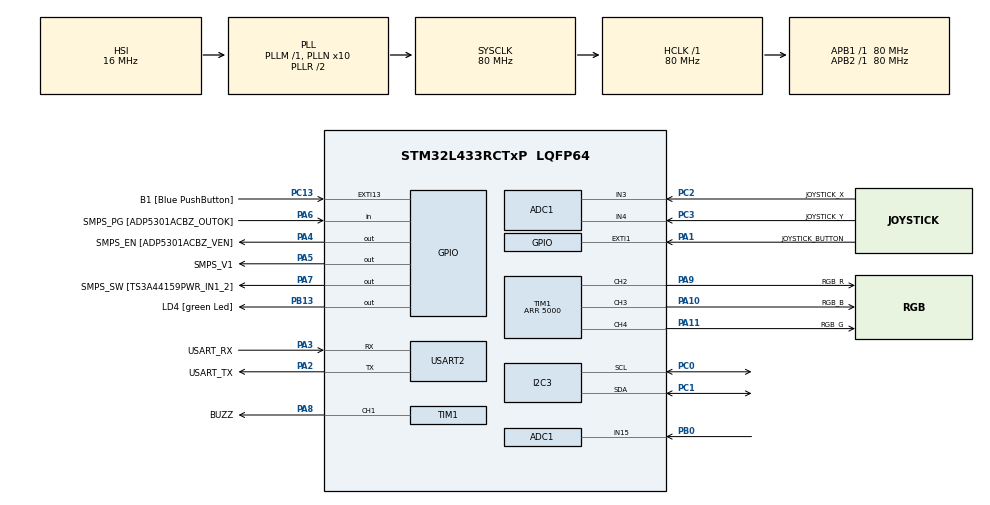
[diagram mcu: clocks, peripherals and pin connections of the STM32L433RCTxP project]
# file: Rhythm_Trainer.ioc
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ADC1.Channel-3\#ChannelRegularConversion=ADC_CHANNEL_3
ADC1.Channel-4\#ChannelRegularConversion=ADC_CHANNEL_4
ADC1.Channel-5\#ChannelRegularConversion=ADC_CHANNEL_15
ADC1.ClockPrescaler=ADC_CLOCK_ASYNC_DIV4
ADC1.ContinuousConvMode=ENABLE
ADC1.DMAContinuousRequests=ENABLE
ADC1.NbrOfConversion=3
ADC1.NbrOfConversionFlag=1
ADC1.OffsetNumber-3\#ChannelRegularConversion=ADC_OFFSET_NONE
ADC1.OffsetNumber-4\#ChannelRegularConversion=ADC_OFFSET_NONE
ADC1.OffsetNumber-5\#ChannelRegularConversion=ADC_OFFSET_NONE
ADC1.Rank-3\#ChannelRegularConversion=1
ADC1.Rank-4\#ChannelRegularConversion=2
ADC1.Rank-5\#ChannelRegularConversion=3
ADC1.SamplingTime-3\#ChannelRegularConversion=ADC_SAMPLETIME_640CYCLES_5
ADC1.SamplingTime-4\#ChannelRegularConversion=ADC_SAMPLETIME_640CYCLES_5
ADC1.SamplingTime-5\#ChannelRegularConversion=ADC_SAMPLETIME_2CYCLES_5
ADC1.master=1
Dma.ADC1.0.Direction=DMA_PERIPH_TO_MEMORY
Dma.ADC1.0.Instance=DMA1_Channel1
Dma.ADC1.0.MemDataAlignment=DMA_MDATAALIGN_HALFWORD
Dma.ADC1.0.MemInc=DMA_MINC_ENABLE
Dma.ADC1.0.Mode=DMA_CIRCULAR
Dma.ADC1.0.PeriphDataAlignment=DMA_PDATAALIGN_HALFWORD
Dma.ADC1.0.PeriphInc=DMA_PINC_DISABLE
Dma.ADC1.0.Priority=DMA_PRIORITY_MEDIUM
Dma.Request0=ADC1
I2C3.Timing=0x10D19CE4
Mcu.Family=STM32L4
Mcu.Name=STM32L433RCTxP
Mcu.Package=LQFP64
NVIC.ADC1_IRQn=true\:0\:0\:false\:false\:true\:true\:true\:true
NVIC.DMA1_Channel1_IRQn=true\:0\:0\:false\:false\:true\:false\:true\:true
NVIC.EXTI15_10_IRQn=true\:0\:0\:false\:false\:true\:true\:true\:true
NVIC.EXTI1_IRQn=true\:0\:0\:false\:false\:true\:true\:true\:true
NVIC.PriorityGroup=NVIC_PRIORITYGROUP_4
PA1.GPIO_Label=JOYSTICK_BUTTON
PA1.GPIO_ModeDefaultEXTI=GPIO_MODE_IT_FALLING
PA1.GPIO_PuPd=GPIO_PULLUP
PA1.Signal=GPXTI1
PA10.GPIO_Label=RGB_B
PA10.Signal=S_TIM1_CH3
PA11.GPIO_Label=RGB_G
PA11.Signal=S_TIM1_CH4
PA13\ (JTMS-SWDIO).GPIO_Label=TMS
PA13\ (JTMS-SWDIO).Mode=Serial_Wire
PA13\ (JTMS-SWDIO).Signal=SYS_JTMS-SWDIO
PA14\ (JTCK-SWCLK).GPIO_Label=TCK
PA14\ (JTCK-SWCLK).Mode=Serial_Wire
PA14\ (JTCK-SWCLK).Signal=SYS_JTCK-SWCLK
PA2.GPIO_Label=USART_TX
PA2.GPIO_Mode=GPIO_MODE_AF_PP
PA2.GPIO_PuPd=GPIO_NOPULL
PA2.GPIO_Speed=GPIO_SPEED_FREQ_VERY_HIGH
PA2.Mode=Asynchronous
PA2.Signal=USART2_TX
PA3.GPIO_Label=USART_RX
PA3.GPIO_Mode=GPIO_MODE_AF_PP
PA3.GPIO_PuPd=GPIO_NOPULL
PA3.GPIO_Speed=GPIO_SPEED_FREQ_VERY_HIGH
PA3.Mode=Asynchronous
PA3.Signal=USART2_RX
PA4.GPIO_Label=SMPS_EN [ADP5301ACBZ_VEN]
PA4.Signal=GPIO_Output
PA5.GPIO_Label=SMPS_V1
PA5.GPIO_ModeDefaultOutputPP=GPIO_MODE_OUTPUT_PP
PA5.GPIO_PuPd=GPIO_NOPULL
PA5.GPIO_Speed=GPIO_SPEED_FREQ_LOW
PA5.Signal=GPIO_Output
PA6.GPIO_Label=SMPS_PG [ADP5301ACBZ_OUTOK]
PA6.GPIO_PuPd=GPIO_PULLUP
PA6.Signal=GPIO_Input
PA7.GPIO_Label=SMPS_SW [TS3A44159PWR_IN1_2]
PA7.Signal=GPIO_Output
PA8.GPIO_Label=BUZZ
PA8.Signal=S_TIM1_CH1
PA9.GPIO_Label=RGB_R
PA9.Signal=S_TIM1_CH2
PB0.Signal=ADCx_IN15
PB13.GPIO_Label=LD4 [green Led]
PB13.Signal=GPIO_Output
PB3\ (JTDO-TRACESWO).GPIO_Label=SWO
PB3\ (JTDO-TRACESWO).Signal=SYS_JTDO-SWO
PC0.Mode=I2C
PC0.Signal=I2C3_SCL
PC1.Mode=I2C
PC1.Signal=I2C3_SDA
PC13.GPIO_Label=B1 [Blue PushButton]
PC13.GPIO_ModeDefaultEXTI=GPIO_MODE_IT_FALLING
PC13.GPIO_PuPd=GPIO_NOPULL
PC13.Signal=GPXTI13
PC14-OSC32_IN\ (PC14).Mode=LSE-External-Oscillator
PC14-OSC32_IN\ (PC14).Signal=RCC_OSC32_IN
PC15-OSC32_OUT\ (PC15).Mode=LSE-External-Oscillator
PC15-OSC32_OUT\ (PC15).Signal=RCC_OSC32_OUT
PC2.GPIO_Label=JOYSTICK_X
PC2.Signal=ADCx_IN3
PC3.GPIO_Label=JOYSTICK_Y
PC3.Signal=ADCx_IN4
PH0-OSC_IN\ (PH0).GPIO_Label=MCO
PH0-OSC_IN\ (PH0).Mode=HSE-External-Clock-Source
PH0-OSC_IN\ (PH0).Signal=RCC_OSC_IN
PH1-OSC_OUT\ (PH1).Signal=RCC_OSC_OUT
ProjectManager.HeapSize=0x200
ProjectManager.StackSize=0x400
ProjectManager.TargetToolchain=STM32CubeIDE
RCC.ADCFreq_Value=64000000
RCC.AHBFreq_Value=80000000
RCC.APB1Freq_Value=80000000
RCC.APB1TimFreq_Value=80000000
RCC.APB2Freq_Value=80000000
RCC.APB2TimFreq_Value=80000000
RCC.CortexFreq_Value=80000000
RCC.HCLKFreq_Value=80000000
RCC.HSE_VALUE=8000000
RCC.HSI48_VALUE=48000000
RCC.HSI_VALUE=16000000
RCC.MSI_VALUE=4000000
RCC.PLLN=10
RCC.PLLSourceVirtual=RCC_PLLSOURCE_HSI
RCC.PREFETCH_ENABLE=1
RCC.SYSCLKFreq_VALUE=80000000
RCC.SYSCLKSource=RCC_SYSCLKSOURCE_PLLCLK
RCC.USBFreq_Value=64000000
RCC.VCOOutputFreq_Value=160000000
SH.ADCx_IN15.0=ADC1_IN15,IN15-Single-Ended
SH.ADCx_IN3.0=ADC1_IN3,IN3-Single-Ended
SH.ADCx_IN4.0=ADC1_IN4,IN4-Single-Ended
SH.S_TIM1_CH1.0=TIM1_CH1,PWM Generation1 CH1
SH.S_TIM1_CH2.0=TIM1_CH2,PWM Generation2 CH2
SH.S_TIM1_CH3.0=TIM1_CH3,PWM Generation3 CH3
SH.S_TIM1_CH4.0=TIM1_CH4,PWM Generation4 CH4
TIM1.Channel-PWM\ Generation1\ CH1=TIM_CHANNEL_1
TIM1.Channel-PWM\ Generation2\ CH2=TIM_CHANNEL_2
TIM1.Channel-PWM\ Generation3\ CH3=TIM_CHANNEL_3
TIM1.Channel-PWM\ Generation4\ CH4=TIM_CHANNEL_4
TIM1.Period=5000
USART2.VirtualMode-Asynchronous=VM_ASYNC
VP_TIM1_VS_ClockSourceINT.Mode=Internal
VP_TIM2_VS_ClockSourceINT.Mode=Internal
board=NUCLEO-L433RC-P

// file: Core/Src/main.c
/* USER CODE BEGIN Header */
/**
  ******************************************************************************
  * @file           : main.c
  * @brief          : Main program body
  ******************************************************************************
  * @attention
  *
  * Copyright (c) 2025 STMicroelectronics.
  * All rights reserved.
  *
  * This software is licensed under terms that can be found in the LICENSE file
  * in the root directory of this software component.
  * If no LICENSE file comes with this software, it is provided AS-IS.
  *
  ******************************************************************************
  */
/* USER CODE END Header */
#include "main.h"

/* USER CODE BEGIN Includes */
#include <stdio.h>
#include "system_state.h"
/* USER CODE END Includes */

ADC_HandleTypeDef hadc1;
DMA_HandleTypeDef hdma_adc1;

I2C_HandleTypeDef hi2c3;

TIM_HandleTypeDef htim1;
TIM_HandleTypeDef htim2;

UART_HandleTypeDef huart2;

/* USER CODE BEGIN PV */
MenuType menu_home;
MenuType menu_bpm_detect;
MenuType menu_bpm_practice;
MenuType menu_bpm_play;
MenuType menu_select_bpm;
MenuType menu_select_sig;

SystemState hsystem_state = {
		NULL,
		NULL,

		(uint8_t)120,
		(uint8_t)4,

		(uint8_t)0,
		(uint8_t)0,
		(uint8_t)0,

		{0}
};

/* USER CODE END PV */

void SystemClock_Config(void);
static void MX_GPIO_Init(void);
static void MX_DMA_Init(void);
static void MX_USART2_UART_Init(void);
static void MX_ADC1_Init(void);
static void MX_TIM1_Init(void);
static void MX_TIM2_Init(void);
static void MX_I2C3_Init(void);

/* USER CODE BEGIN 0 */

MenuType* menu_get_previous(){
	return hsystem_state.previous_menu;
}

/* Text Update */

void text_update_bpm(void* arg) {
	MenuItemType* item = (MenuItemType*)arg;
	sprintf(item->text_buffer, item->text_format, hsystem_state.current_bpm);
}

void text_update_signature(void* arg) {
	MenuItemType* item = (MenuItemType*)arg;
	sprintf(item->text_buffer, item->text_format, hsystem_state.current_sig);
}

void text_update_reaction(void* arg) {
	MenuItemType* item = (MenuItemType*)arg;
	sprintf(item->text_buffer, item->text_format, hsystem_state.reaction);
}

void text_update_accuracy(void* arg) {
	MenuItemType* item = (MenuItemType*)arg;
	sprintf(item->text_buffer, item->text_format, hsystem_state.accuracy);
}

void text_update_pulse(void* arg) {
	MenuItemType* item = (MenuItemType*)arg;
	sprintf(item->text_buffer, item->text_format, hsystem_state.current_beat);
}

/* Menu Item Types */

MenuItemType menu_items_home[] = {
	{MENU_ITEM_DYNAMIC_TEXT, 0, 8, 0, "L: %u", &text_update_bpm},

    // Row 1-3: Options
    {MENU_ITEM_STATIC_TEXT, 1, 0, 0, "Detect", NULL, &MENU_change, &menu_bpm_detect},
    {MENU_ITEM_STATIC_TEXT, 1, 0, 1, "Play", NULL, &MENU_change, &menu_bpm_play},
    {MENU_ITEM_STATIC_TEXT, 1, 6, 1, "Practice", NULL, &MENU_change, &menu_bpm_practice}
};

MenuItemType menu_items_bpm_detect[] = {
	{MENU_ITEM_DYNAMIC_TEXT, 0, 0, 0, "BPM... %u", &text_update_bpm},
    {MENU_ITEM_STATIC_TEXT, 1, 0, 1, "Play", NULL, &MENU_change, &menu_bpm_play},
    {MENU_ITEM_STATIC_TEXT, 1, 8, 1, "Home", NULL, &MENU_change, &menu_home}
};

MenuItemType menu_items_bpm_practice[] = {
	{MENU_ITEM_DYNAMIC_TEXT, 0, 15, 0, "%u%%", &text_update_pulse},
	{MENU_ITEM_DYNAMIC_TEXT, 0, 6, 1, "%03ums", &text_update_reaction},
	{MENU_ITEM_DYNAMIC_TEXT, 0, 12, 1, "%02u%%", &text_update_accuracy},
	{MENU_ITEM_DYNAMIC_TEXT, 1, 0, 0, "%ubpm", &text_update_bpm, &MENU_change, &menu_select_bpm},
    {MENU_ITEM_DYNAMIC_TEXT, 1, 8, 0, "Sig:%01u", &text_update_signature, &MENU_change, &menu_select_sig},
    {MENU_ITEM_STATIC_TEXT, 1, 0, 1, "Home", NULL, &MENU_change, &menu_home}
};

MenuItemType menu_items_bpm_play[] = {
	{MENU_ITEM_DYNAMIC_TEXT, 1, 0, 0, "BPM... %d", &text_update_bpm, &MENU_change, &menu_select_bpm},
    {MENU_ITEM_DYNAMIC_TEXT, 1, 0, 1, "Sig: %01u", &text_update_signature, &MENU_change, &menu_select_sig},
    {MENU_ITEM_STATIC_TEXT, 1, 8, 1, "Home", NULL, &MENU_change, &menu_home}
};

MenuItemType menu_items_select_bpm[] = {
	{MENU_ITEM_STATIC_TEXT, 0, 3, 0, "Select BPM"},
	{MENU_ITEM_DYNAMIC_TEXT, 1, 5, 1, " %03u", &text_update_bpm, &MENU_change_ptr, (void*)&hsystem_state.previous_menu}
};

MenuItemType menu_items_select_sig[] = {
	{MENU_ITEM_STATIC_TEXT, 0, 0, 0, "Select Signature"},
    {MENU_ITEM_DYNAMIC_TEXT, 1, 5, 1, " %03u", &text_update_signature, &MENU_change_ptr, (void*)&hsystem_state.previous_menu}
};

/* Init Menus*/
void init_menus(){
	  MENU_init(&menu_home, &hsystem_state.hlcd, MENU_TYPE_HOME, menu_items_home, (uint8_t)4);
	  MENU_init(&menu_bpm_detect, &hsystem_state.hlcd, MENU_TYPE_BPM_DETECT, menu_items_bpm_detect, (uint8_t)3);
	  MENU_init(&menu_bpm_practice, &hsystem_state.hlcd, MENU_TYPE_BPM_PRACTICE, menu_items_bpm_practice, (uint8_t)6);
	  MENU_init(&menu_bpm_play, &hsystem_state.hlcd, MENU_TYPE_BPM_PLAY, menu_items_bpm_play, (uint8_t)3);
	  MENU_init(&menu_select_bpm, &hsystem_state.hlcd, MENU_TYPE_SEL_BPM, menu_items_select_bpm, (uint8_t)2);
	  MENU_init(&menu_select_sig, &hsystem_state.hlcd, MENU_TYPE_SEL_SIG, menu_items_select_sig, (uint8_t)2);
}

/* Interrupt for Joystick */
void HAL_GPIO_EXTI_Callback(uint16_t GPIO_Pin) {
	if (GPIO_Pin == JOYSTICK_BUTTON_Pin || GPIO_Pin ==  B1_Pin) {
		JOYSTICK_handle_interrupt_button(&hsystem_state.hjoy);
	}
}

/* USER CODE END 0 */

int main(void)
{

  /* MCU Configuration--------------------------------------------------------*/

  /* Reset of all peripherals, Initializes the Flash interface and the Systick. */
  HAL_Init();

  /* Configure the system clock */
  SystemClock_Config();

  /* Initialize all configured peripherals */
  MX_GPIO_Init();
  MX_DMA_Init();
  MX_USART2_UART_Init();
  MX_ADC1_Init();
  MX_TIM1_Init();
  MX_TIM2_Init();
  MX_I2C3_Init();
  /* USER CODE BEGIN 2 */
  // ^ ADC for sound sens and joystick, TIM1 for PWM, TIM2 for LCD Delay, I2C to LCD.
  TextLCD_Init(&hsystem_state.hlcd, &hi2c3, (uint8_t)(0x27 << 1)); //0x4E
  TextLCD_PutStr(&hsystem_state.hlcd, "Starting...");

  // System inits
  EVENT_que_init(&hsystem_state.hevq);
  JOYSTICK_init(&hsystem_state.hjoy, &hadc1);
  HAL_ADC_Start_DMA(hsystem_state.hjoy.adc, (uint32_t*)hsystem_state.adc_buffer, 3);
  MIC_init(&hsystem_state.hmic);
  RHYTHM_init(&hsystem_state.hrhythm);

  HAL_Delay(1000);

  // Init Menu
  init_menus();

  // Render Main screen
  MENU_render(&menu_home, 2);

  /* USER CODE END 2 */

  /* Infinite loop */
  /* USER CODE BEGIN WHILE */
  while (1)
  {
	// Process Joystick Events
	JOYSTICK_process_event_joystick(&hsystem_state.hjoy, &hsystem_state.hevq);
	JOYSTICK_process_event_button(&hsystem_state.hjoy, &hsystem_state.hevq);

	// Process Microphone Events
	if(hsystem_state.current_menu->instance == MENU_TYPE_BPM_DETECT || hsystem_state.current_menu->instance == MENU_TYPE_BPM_PRACTICE)
		MIC_process_event(&hsystem_state.hmic, &hsystem_state.hevq);

	// Update Rhythm (Beep, Twxt, etc)
	if(hsystem_state.current_menu->instance == MENU_TYPE_BPM_PLAY || hsystem_state.current_menu->instance == MENU_TYPE_BPM_PRACTICE)
		RHYTHM_update(&hsystem_state.hrhythm, HAL_GetTick(), hsystem_state.current_bpm, hsystem_state.current_sig, 1);

	if(hsystem_state.hevq.que_size != 0) {
		EVENT_handle(EVENT_que_front(&hsystem_state.hevq));
		EVENT_que_pop_front(&hsystem_state.hevq);
	}

    /* USER CODE END WHILE */

  }
}

void SystemClock_Config(void)
{
  RCC_OscInitTypeDef RCC_OscInitStruct = {0};
  RCC_ClkInitTypeDef RCC_ClkInitStruct = {0};

  /** Configure the main internal regulator output voltage
  */
  if (HAL_PWREx_ControlVoltageScaling(PWR_REGULATOR_VOLTAGE_SCALE1) != HAL_OK)
  {
    Error_Handler();
  }

  /** Initializes the RCC Oscillators according to the specified parameters
  * in the RCC_OscInitTypeDef structure.
  */
  RCC_OscInitStruct.OscillatorType = RCC_OSCILLATORTYPE_HSI;
  RCC_OscInitStruct.HSIState = RCC_HSI_ON;
  RCC_OscInitStruct.HSICalibrationValue = RCC_HSICALIBRATION_DEFAULT;
  RCC_OscInitStruct.PLL.PLLState = RCC_PLL_ON;
  RCC_OscInitStruct.PLL.PLLSource = RCC_PLLSOURCE_HSI;
  RCC_OscInitStruct.PLL.PLLM = 1;
  RCC_OscInitStruct.PLL.PLLN = 10;
  RCC_OscInitStruct.PLL.PLLP = RCC_PLLP_DIV7;
  RCC_OscInitStruct.PLL.PLLQ = RCC_PLLQ_DIV2;
  RCC_OscInitStruct.PLL.PLLR = RCC_PLLR_DIV2;
  if (HAL_RCC_OscConfig(&RCC_OscInitStruct) != HAL_OK)
  {
    Error_Handler();
  }

  /** Initializes the CPU, AHB and APB buses clocks
  */
  RCC_ClkInitStruct.ClockType = RCC_CLOCKTYPE_HCLK|RCC_CLOCKTYPE_SYSCLK
                              |RCC_CLOCKTYPE_PCLK1|RCC_CLOCKTYPE_PCLK2;
  RCC_ClkInitStruct.SYSCLKSource = RCC_SYSCLKSOURCE_PLLCLK;
  RCC_ClkInitStruct.AHBCLKDivider = RCC_SYSCLK_DIV1;
  RCC_ClkInitStruct.APB1CLKDivider = RCC_HCLK_DIV1;
  RCC_ClkInitStruct.APB2CLKDivider = RCC_HCLK_DIV1;

  if (HAL_RCC_ClockConfig(&RCC_ClkInitStruct, FLASH_LATENCY_4) != HAL_OK)
  {
    Error_Handler();
  }
}

static void MX_ADC1_Init(void)
{

  ADC_ChannelConfTypeDef sConfig = {0};

  /** Common config
  */
  hadc1.Instance = ADC1;
  hadc1.Init.ClockPrescaler = ADC_CLOCK_ASYNC_DIV4;
  hadc1.Init.Resolution = ADC_RESOLUTION_12B;
  hadc1.Init.DataAlign = ADC_DATAALIGN_RIGHT;
  hadc1.Init.ScanConvMode = ADC_SCAN_ENABLE;
  hadc1.Init.EOCSelection = ADC_EOC_SINGLE_CONV;
  hadc1.Init.LowPowerAutoWait = DISABLE;
  hadc1.Init.ContinuousConvMode = ENABLE;
  hadc1.Init.NbrOfConversion = 3;
  hadc1.Init.DiscontinuousConvMode = DISABLE;
  hadc1.Init.ExternalTrigConv = ADC_SOFTWARE_START;
  hadc1.Init.ExternalTrigConvEdge = ADC_EXTERNALTRIGCONVEDGE_NONE;
  hadc1.Init.DMAContinuousRequests = ENABLE;
  hadc1.Init.Overrun = ADC_OVR_DATA_PRESERVED;
  hadc1.Init.OversamplingMode = DISABLE;
  if (HAL_ADC_Init(&hadc1) != HAL_OK)
  {
    Error_Handler();
  }

  /** Configure Regular Channel
  */
  sConfig.Channel = ADC_CHANNEL_3;
  sConfig.Rank = ADC_REGULAR_RANK_1;
  sConfig.SamplingTime = ADC_SAMPLETIME_640CYCLES_5;
  sConfig.SingleDiff = ADC_SINGLE_ENDED;
  sConfig.OffsetNumber = ADC_OFFSET_NONE;
  sConfig.Offset = 0;
  if (HAL_ADC_ConfigChannel(&hadc1, &sConfig) != HAL_OK)
  {
    Error_Handler();
  }

  /** Configure Regular Channel
  */
  sConfig.Channel = ADC_CHANNEL_4;
  sConfig.Rank = ADC_REGULAR_RANK_2;
  if (HAL_ADC_ConfigChannel(&hadc1, &sConfig) != HAL_OK)
  {
    Error_Handler();
  }

  /** Configure Regular Channel
  */
  sConfig.Channel = ADC_CHANNEL_15;
  sConfig.Rank = ADC_REGULAR_RANK_3;
  sConfig.SamplingTime = ADC_SAMPLETIME_2CYCLES_5;
  if (HAL_ADC_ConfigChannel(&hadc1, &sConfig) != HAL_OK)
  {
    Error_Handler();
  }

}

static void MX_I2C3_Init(void)
{

  hi2c3.Instance = I2C3;
  hi2c3.Init.Timing = 0x10D19CE4;
  hi2c3.Init.OwnAddress1 = 0;
  hi2c3.Init.AddressingMode = I2C_ADDRESSINGMODE_7BIT;
  hi2c3.Init.DualAddressMode = I2C_DUALADDRESS_DISABLE;
  hi2c3.Init.OwnAddress2 = 0;
  hi2c3.Init.OwnAddress2Masks = I2C_OA2_NOMASK;
  hi2c3.Init.GeneralCallMode = I2C_GENERALCALL_DISABLE;
  hi2c3.Init.NoStretchMode = I2C_NOSTRETCH_DISABLE;
  if (HAL_I2C_Init(&hi2c3) != HAL_OK)
  {
    Error_Handler();
  }

  /** Configure Analogue filter
  */
  if (HAL_I2CEx_ConfigAnalogFilter(&hi2c3, I2C_ANALOGFILTER_ENABLE) != HAL_OK)
  {
    Error_Handler();
  }

  /** Configure Digital filter
  */
  if (HAL_I2CEx_ConfigDigitalFilter(&hi2c3, 0) != HAL_OK)
  {
    Error_Handler();
  }

}

static void MX_TIM1_Init(void)
{

  TIM_ClockConfigTypeDef sClockSourceConfig = {0};
  TIM_MasterConfigTypeDef sMasterConfig = {0};
  TIM_OC_InitTypeDef sConfigOC = {0};
  TIM_BreakDeadTimeConfigTypeDef sBreakDeadTimeConfig = {0};

  htim1.Instance = TIM1;
  htim1.Init.Prescaler = 0;
  htim1.Init.CounterMode = TIM_COUNTERMODE_UP;
  htim1.Init.Period = 5000;
  htim1.Init.ClockDivision = TIM_CLOCKDIVISION_DIV1;
  htim1.Init.RepetitionCounter = 0;
  htim1.Init.AutoReloadPreload = TIM_AUTORELOAD_PRELOAD_DISABLE;
  if (HAL_TIM_Base_Init(&htim1) != HAL_OK)
  {
    Error_Handler();
  }
  sClockSourceConfig.ClockSource = TIM_CLOCKSOURCE_INTERNAL;
  if (HAL_TIM_ConfigClockSource(&htim1, &sClockSourceConfig) != HAL_OK)
  {
    Error_Handler();
  }
  if (HAL_TIM_PWM_Init(&htim1) != HAL_OK)
  {
    Error_Handler();
  }
  sMasterConfig.MasterOutputTrigger = TIM_TRGO_RESET;
  sMasterConfig.MasterOutputTrigger2 = TIM_TRGO2_RESET;
  sMasterConfig.MasterSlaveMode = TIM_MASTERSLAVEMODE_DISABLE;
  if (HAL_TIMEx_MasterConfigSynchronization(&htim1, &sMasterConfig) != HAL_OK)
  {
    Error_Handler();
  }
  sConfigOC.OCMode = TIM_OCMODE_PWM1;
  sConfigOC.Pulse = 0;
  sConfigOC.OCPolarity = TIM_OCPOLARITY_HIGH;
  sConfigOC.OCNPolarity = TIM_OCNPOLARITY_HIGH;
  sConfigOC.OCFastMode = TIM_OCFAST_DISABLE;
  sConfigOC.OCIdleState = TIM_OCIDLESTATE_RESET;
  sConfigOC.OCNIdleState = TIM_OCNIDLESTATE_RESET;
  if (HAL_TIM_PWM_ConfigChannel(&htim1, &sConfigOC, TIM_CHANNEL_1) != HAL_OK)
  {
    Error_Handler();
  }
  if (HAL_TIM_PWM_ConfigChannel(&htim1, &sConfigOC, TIM_CHANNEL_2) != HAL_OK)
  {
    Error_Handler();
  }
  if (HAL_TIM_PWM_ConfigChannel(&htim1, &sConfigOC, TIM_CHANNEL_3) != HAL_OK)
  {
    Error_Handler();
  }
  if (HAL_TIM_PWM_ConfigChannel(&htim1, &sConfigOC, TIM_CHANNEL_4) != HAL_OK)
  {
    Error_Handler();
  }
  sBreakDeadTimeConfig.OffStateRunMode = TIM_OSSR_DISABLE;
  sBreakDeadTimeConfig.OffStateIDLEMode = TIM_OSSI_DISABLE;
  sBreakDeadTimeConfig.LockLevel = TIM_LOCKLEVEL_OFF;
  sBreakDeadTimeConfig.DeadTime = 0;
  sBreakDeadTimeConfig.BreakState = TIM_BREAK_DISABLE;
  sBreakDeadTimeConfig.BreakPolarity = TIM_BREAKPOLARITY_HIGH;
  sBreakDeadTimeConfig.BreakFilter = 0;
  sBreakDeadTimeConfig.Break2State = TIM_BREAK2_DISABLE;
  sBreakDeadTimeConfig.Break2Polarity = TIM_BREAK2POLARITY_HIGH;
  sBreakDeadTimeConfig.Break2Filter = 0;
  sBreakDeadTimeConfig.AutomaticOutput = TIM_AUTOMATICOUTPUT_DISABLE;
  if (HAL_TIMEx_ConfigBreakDeadTime(&htim1, &sBreakDeadTimeConfig) != HAL_OK)
  {
    Error_Handler();
  }
  HAL_TIM_MspPostInit(&htim1);

}

static void MX_TIM2_Init(void)
{

  TIM_ClockConfigTypeDef sClockSourceConfig = {0};
  TIM_MasterConfigTypeDef sMasterConfig = {0};

  htim2.Instance = TIM2;
  htim2.Init.Prescaler = 0;
  htim2.Init.CounterMode = TIM_COUNTERMODE_UP;
  htim2.Init.Period = 4294967295;
  htim2.Init.ClockDivision = TIM_CLOCKDIVISION_DIV1;
  htim2.Init.AutoReloadPreload = TIM_AUTORELOAD_PRELOAD_DISABLE;
  if (HAL_TIM_Base_Init(&htim2) != HAL_OK)
  {
    Error_Handler();
  }
  sClockSourceConfig.ClockSource = TIM_CLOCKSOURCE_INTERNAL;
  if (HAL_TIM_ConfigClockSource(&htim2, &sClockSourceConfig) != HAL_OK)
  {
    Error_Handler();
  }
  sMasterConfig.MasterOutputTrigger = TIM_TRGO_RESET;
  sMasterConfig.MasterSlaveMode = TIM_MASTERSLAVEMODE_DISABLE;
  if (HAL_TIMEx_MasterConfigSynchronization(&htim2, &sMasterConfig) != HAL_OK)
  {
    Error_Handler();
  }

}

static void MX_USART2_UART_Init(void)
{

  huart2.Instance = USART2;
  huart2.Init.BaudRate = 115200;
  huart2.Init.WordLength = UART_WORDLENGTH_8B;
  huart2.Init.StopBits = UART_STOPBITS_1;
  huart2.Init.Parity = UART_PARITY_NONE;
  huart2.Init.Mode = UART_MODE_TX_RX;
  huart2.Init.HwFlowCtl = UART_HWCONTROL_NONE;
  huart2.Init.OverSampling = UART_OVERSAMPLING_16;
  huart2.Init.OneBitSampling = UART_ONE_BIT_SAMPLE_DISABLE;
  huart2.AdvancedInit.AdvFeatureInit = UART_ADVFEATURE_NO_INIT;
  if (HAL_UART_Init(&huart2) != HAL_OK)
  {
    Error_Handler();
  }

}

static void MX_DMA_Init(void)
{

  /* DMA controller clock enable */
  __HAL_RCC_DMA1_CLK_ENABLE();

  /* DMA interrupt init */
  /* DMA1_Channel1_IRQn interrupt configuration */
  HAL_NVIC_SetPriority(DMA1_Channel1_IRQn, 0, 0);
  HAL_NVIC_EnableIRQ(DMA1_Channel1_IRQn);

}

static void MX_GPIO_Init(void)
{
  GPIO_InitTypeDef GPIO_InitStruct = {0};

  /* GPIO Ports Clock Enable */
  __HAL_RCC_GPIOC_CLK_ENABLE();
  __HAL_RCC_GPIOH_CLK_ENABLE();
  __HAL_RCC_GPIOA_CLK_ENABLE();
  __HAL_RCC_GPIOB_CLK_ENABLE();

  /*Configure GPIO pin Output Level */
  HAL_GPIO_WritePin(GPIOA, SMPS_EN_Pin|SMPS_V1_Pin|SMPS_SW_Pin, GPIO_PIN_RESET);

  /*Configure GPIO pin Output Level */
  HAL_GPIO_WritePin(LD4_GPIO_Port, LD4_Pin, GPIO_PIN_RESET);

  /*Configure GPIO pin : B1_Pin */
  GPIO_InitStruct.Pin = B1_Pin;
  GPIO_InitStruct.Mode = GPIO_MODE_IT_FALLING;
  GPIO_InitStruct.Pull = GPIO_NOPULL;
  HAL_GPIO_Init(B1_GPIO_Port, &GPIO_InitStruct);

  /*Configure GPIO pin : JOYSTICK_BUTTON_Pin */
  GPIO_InitStruct.Pin = JOYSTICK_BUTTON_Pin;
  GPIO_InitStruct.Mode = GPIO_MODE_IT_FALLING;
  GPIO_InitStruct.Pull = GPIO_PULLUP;
  HAL_GPIO_Init(JOYSTICK_BUTTON_GPIO_Port, &GPIO_InitStruct);

  /*Configure GPIO pins : SMPS_EN_Pin SMPS_V1_Pin SMPS_SW_Pin */
  GPIO_InitStruct.Pin = SMPS_EN_Pin|SMPS_V1_Pin|SMPS_SW_Pin;
  GPIO_InitStruct.Mode = GPIO_MODE_OUTPUT_PP;
  GPIO_InitStruct.Pull = GPIO_NOPULL;
  GPIO_InitStruct.Speed = GPIO_SPEED_FREQ_LOW;
  HAL_GPIO_Init(GPIOA, &GPIO_InitStruct);

  /*Configure GPIO pin : SMPS_PG_Pin */
  GPIO_InitStruct.Pin = SMPS_PG_Pin;
  GPIO_InitStruct.Mode = GPIO_MODE_INPUT;
  GPIO_InitStruct.Pull = GPIO_PULLUP;
  HAL_GPIO_Init(SMPS_PG_GPIO_Port, &GPIO_InitStruct);

  /*Configure GPIO pin : LD4_Pin */
  GPIO_InitStruct.Pin = LD4_Pin;
  GPIO_InitStruct.Mode = GPIO_MODE_OUTPUT_PP;
  GPIO_InitStruct.Pull = GPIO_NOPULL;
  GPIO_InitStruct.Speed = GPIO_SPEED_FREQ_LOW;
  HAL_GPIO_Init(LD4_GPIO_Port, &GPIO_InitStruct);

  /* EXTI interrupt init*/
  HAL_NVIC_SetPriority(EXTI1_IRQn, 0, 0);
  HAL_NVIC_EnableIRQ(EXTI1_IRQn);

  HAL_NVIC_SetPriority(EXTI15_10_IRQn, 0, 0);
  HAL_NVIC_EnableIRQ(EXTI15_10_IRQn);

}

void Error_Handler(void)
{
  __disable_irq();
  while (1)
  {
  }
}
